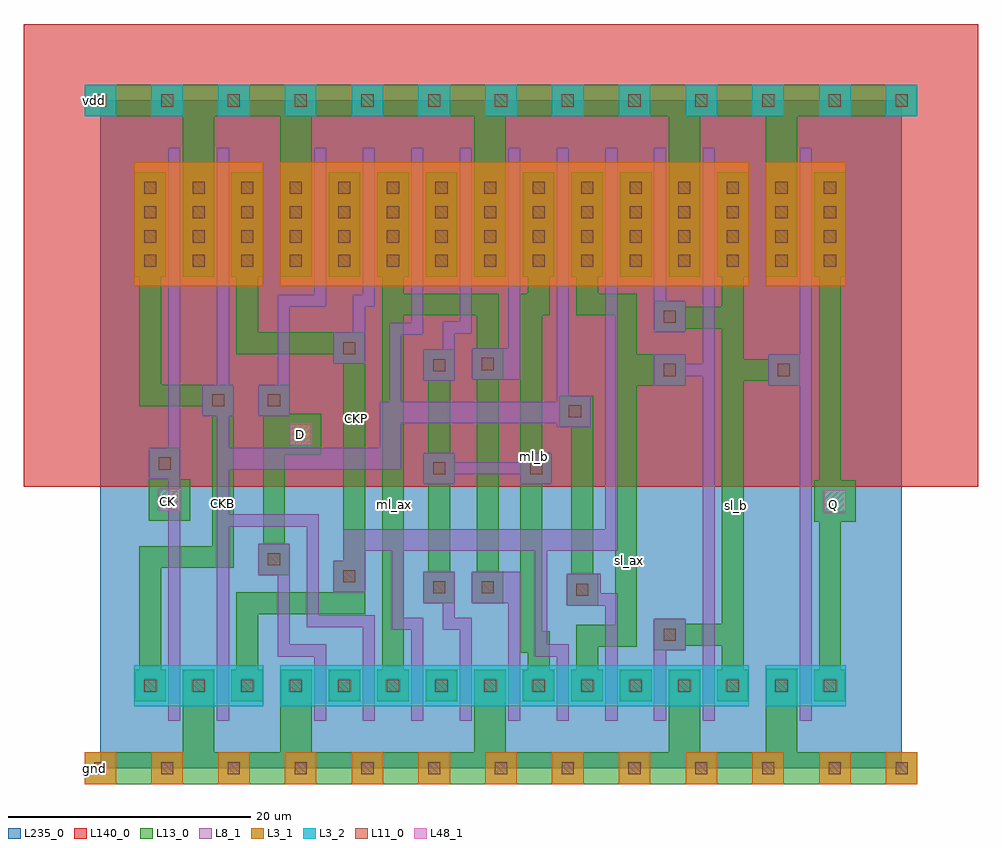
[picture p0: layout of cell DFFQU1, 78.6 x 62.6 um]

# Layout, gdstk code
import gdstk
lib = gdstk.Library(unit=1e-6, precision=1e-09)
def R(c, l, rs):  # rectangles x0, y0, x1, y1
    for r in rs: c.add(gdstk.rectangle(r[:2], r[2:], *l))
def A(c, l, x, y, w, h, nx, ny, dx, dy):  # array of equal rectangles
    R(c, l, [(x+i*dx, y+j*dy, x+i*dx+w, y+j*dy+h) for i in range(nx) for j in range(ny)])
L3_1 = (3, 1)
L3_2 = (3, 2)
L8_1 = (8, 1)
L11_0 = (11, 0)
L13_0 = (13, 0)
L48_1 = (48, 1)
L140_0 = (140, 0)
L235_0 = (235, 0)

cont_n = lib.new_cell('cont_n')
R(cont_n, L3_2, [(-1.3,-1.3,1.3,1.3)])
R(cont_n, L11_0, [(-0.5,-0.5,0.5,0.5)])
R(cont_n, L13_0, [(-1.3,-1.3,1.3,1.3)])

cont_p = lib.new_cell('cont_p')
R(cont_p, L3_1, [(-1.3,-1.3,1.3,1.3)])
R(cont_p, L11_0, [(-0.5,-0.5,0.5,0.5)])
R(cont_p, L13_0, [(-1.3,-1.3,1.3,1.3)])

fet_p = lib.new_cell('fet_p')
R(fet_p, L3_1, [(-19.3,-5.1,19.3,5.1)])
A(fet_p, L11_0, -18.5, -3.5, 1, 1, 10, 4, 4, 2)
A(fet_p, L13_0, -19.3, -4.3, 2.6, 8.6, 10, 1, 4, 0)
fet_p.add(gdstk.FlexPath([(0,-6.3),(0,6.3)], 1, ends="flush", simple_path=True, layer=8, datatype=1))  # L8_1
fet_p.add(gdstk.FlexPath([(-4,-6.3),(-4,6.3)], 1, ends="flush", simple_path=True, layer=8, datatype=1))  # L8_1
fet_p.add(gdstk.FlexPath([(4,-6.3),(4,6.3)], 1, ends="flush", simple_path=True, layer=8, datatype=1))  # L8_1
fet_p.add(gdstk.FlexPath([(-8,-6.3),(-8,6.3)], 1, ends="flush", simple_path=True, layer=8, datatype=1))  # L8_1
fet_p.add(gdstk.FlexPath([(8,-6.3),(8,6.3)], 1, ends="flush", simple_path=True, layer=8, datatype=1))  # L8_1
fet_p.add(gdstk.FlexPath([(-12,-6.3),(-12,6.3)], 1, ends="flush", simple_path=True, layer=8, datatype=1))  # L8_1
fet_p.add(gdstk.FlexPath([(12,-6.3),(12,6.3)], 1, ends="flush", simple_path=True, layer=8, datatype=1))  # L8_1
fet_p.add(gdstk.FlexPath([(-16,-6.3),(-16,6.3)], 1, ends="flush", simple_path=True, layer=8, datatype=1))  # L8_1
fet_p.add(gdstk.FlexPath([(16,-6.3),(16,6.3)], 1, ends="flush", simple_path=True, layer=8, datatype=1))  # L8_1

fet_n = lib.new_cell('fet_n')
R(fet_n, L3_2, [(-19.3,-1.7,19.3,1.7)])
A(fet_n, L11_0, -18.5, -0.5, 1, 1, 10, 1, 4, 0)
A(fet_n, L13_0, -19.3, -1.3, 2.6, 2.6, 10, 1, 4, 0)
fet_n.add(gdstk.FlexPath([(0,-2.9),(0,2.9)], 1, ends="flush", simple_path=True, layer=8, datatype=1))  # L8_1
fet_n.add(gdstk.FlexPath([(-4,-2.9),(-4,2.9)], 1, ends="flush", simple_path=True, layer=8, datatype=1))  # L8_1
fet_n.add(gdstk.FlexPath([(4,-2.9),(4,2.9)], 1, ends="flush", simple_path=True, layer=8, datatype=1))  # L8_1
fet_n.add(gdstk.FlexPath([(-8,-2.9),(-8,2.9)], 1, ends="flush", simple_path=True, layer=8, datatype=1))  # L8_1
fet_n.add(gdstk.FlexPath([(8,-2.9),(8,2.9)], 1, ends="flush", simple_path=True, layer=8, datatype=1))  # L8_1
fet_n.add(gdstk.FlexPath([(-12,-2.9),(-12,2.9)], 1, ends="flush", simple_path=True, layer=8, datatype=1))  # L8_1
fet_n.add(gdstk.FlexPath([(12,-2.9),(12,2.9)], 1, ends="flush", simple_path=True, layer=8, datatype=1))  # L8_1
fet_n.add(gdstk.FlexPath([(-16,-2.9),(-16,2.9)], 1, ends="flush", simple_path=True, layer=8, datatype=1))  # L8_1
fet_n.add(gdstk.FlexPath([(16,-2.9),(16,2.9)], 1, ends="flush", simple_path=True, layer=8, datatype=1))  # L8_1

fet_p_3 = lib.new_cell('fet_p$3')
R(fet_p_3, L3_1, [(-5.3,-5.1,5.3,5.1)])
A(fet_p_3, L11_0, -4.5, -3.5, 1, 1, 3, 4, 4, 2)
A(fet_p_3, L13_0, -5.3, -4.3, 2.6, 8.6, 3, 1, 4, 0)
fet_p_3.add(gdstk.FlexPath([(2,-6.3),(2,6.3)], 1, ends="flush", simple_path=True, layer=8, datatype=1))  # L8_1
fet_p_3.add(gdstk.FlexPath([(-2,-6.3),(-2,6.3)], 1, ends="flush", simple_path=True, layer=8, datatype=1))  # L8_1

fet_n_2 = lib.new_cell('fet_n$2')
R(fet_n_2, L3_2, [(-5.3,-1.7,5.3,1.7)])
A(fet_n_2, L11_0, -4.5, -0.5, 1, 1, 3, 1, 4, 0)
A(fet_n_2, L13_0, -5.3, -1.3, 2.6, 2.6, 3, 1, 4, 0)
fet_n_2.add(gdstk.FlexPath([(2,-2.9),(2,2.9)], 1, ends="flush", simple_path=True, layer=8, datatype=1))  # L8_1
fet_n_2.add(gdstk.FlexPath([(-2,-2.9),(-2,2.9)], 1, ends="flush", simple_path=True, layer=8, datatype=1))  # L8_1

cont_g = lib.new_cell('cont_g')
R(cont_g, L8_1, [(-1.3,-1.3,1.3,1.3)])
R(cont_g, L11_0, [(-0.5,-0.5,0.5,0.5)])
R(cont_g, L13_0, [(-1.3,-1.3,1.3,1.3)])

fet_n_3 = lib.new_cell('fet_n$3')
R(fet_n_3, L3_2, [(-3.3,-1.7,3.3,1.7)])
R(fet_n_3, L11_0, [(-2.5,-0.5,-1.5,0.5), (1.5,-0.5,2.5,0.5)])
R(fet_n_3, L13_0, [(-3.3,-1.3,-0.7,1.3), (0.7,-1.3,3.3,1.3)])
fet_n_3.add(gdstk.FlexPath([(0,-2.9),(0,2.9)], 1, ends="flush", simple_path=True, layer=8, datatype=1))  # L8_1

fet_p_2 = lib.new_cell('fet_p$2')
R(fet_p_2, L3_1, [(-3.3,-5.1,3.3,5.1)])
A(fet_p_2, L11_0, -2.5, -3.5, 1, 1, 1, 4, 0, 2)
A(fet_p_2, L11_0, 1.5, -3.5, 1, 1, 1, 4, 0, 2)
R(fet_p_2, L13_0, [(-3.3,-4.3,-0.7,4.3), (0.7,-4.3,3.3,4.3)])
fet_p_2.add(gdstk.FlexPath([(0,-6.3),(0,6.3)], 1, ends="flush", simple_path=True, layer=8, datatype=1))  # L8_1

dffqu1 = lib.new_cell('DFFQU1')
R(dffqu1, L8_1, [(39.5,14.9,40.4,17.5), (39.5,33.3,40.4,35.9)])
R(dffqu1, L13_0, [(65.1,21.6,68.5,25), (10.3,21.7,13.7,25.1), (21.1,27.1,24.5,30.5), (50.5,32.8,51.9,35.4)])
R(dffqu1, L48_1, [(65.9,22.4,67.7,24.2), (11.1,22.5,12.9,24.3), (21.9,27.9,23.7,29.7)])
R(dffqu1, L140_0, [(0,24.5,78.6,62.6)])
R(dffqu1, L235_0, [(6.3,1.3,72.3,56.3)])
dffqu1.add(gdstk.FlexPath([(44.4,39.8),(44.4,29.9)], 1, ends="extended", simple_path=True, layer=8, datatype=1))  # L8_1
dffqu1.add(gdstk.FlexPath([(16.4,39.8),(16.4,11)], 1, ends="extended", simple_path=True, layer=8, datatype=1))  # L8_1
dffqu1.add(gdstk.FlexPath([(16.8,26.8),(30.2,26.8),(30.2,30.6),(45.5,30.6)], 1.8, ends="extended", simple_path=True, layer=8, datatype=1))  # L8_1
dffqu1.add(gdstk.FlexPath([(28.4,11),(28.4,13.4),(23.8,13.4),(23.8,21.7),(16.4,21.7)], 1, ends="extended", simple_path=True, layer=8, datatype=1))  # L8_1
dffqu1.add(gdstk.FlexPath([(12.4,39.8),(12.4,11)], 1, ends="extended", simple_path=True, layer=8, datatype=1))  # L8_1
dffqu1.add(gdstk.FlexPath([(53.2,34.1),(56.4,34.1)], 1, ends="extended", simple_path=True, layer=8, datatype=1))  # L8_1
dffqu1.add(gdstk.FlexPath([(48.4,11),(48.4,15.2),(47,15.2),(47,16.8)], 1, ends="extended", simple_path=True, layer=8, datatype=1))  # L8_1
dffqu1.add(gdstk.FlexPath([(48.4,39.8),(48.4,20.5)], 1, ends="extended", simple_path=True, layer=8, datatype=1))  # L8_1
dffqu1.add(gdstk.FlexPath([(64.4,39.8),(64.4,11)], 1, ends="extended", simple_path=True, layer=8, datatype=1))  # L8_1
dffqu1.add(gdstk.FlexPath([(34.2,26),(42.2,26)], 1, ends="extended", simple_path=True, layer=8, datatype=1))  # L8_1
dffqu1.add(gdstk.FlexPath([(40.4,39.8),(40.4,33.8)], 1, ends="extended", simple_path=True, layer=8, datatype=1))  # L8_1
dffqu1.add(gdstk.FlexPath([(40.4,11),(40.4,17)], 1, ends="extended", simple_path=True, layer=8, datatype=1))  # L8_1
dffqu1.add(gdstk.FlexPath([(36.4,39.8),(36.4,37.6),(35,37.6),(35,33.7)], 1, ends="extended", simple_path=True, layer=8, datatype=1))  # L8_1
dffqu1.add(gdstk.FlexPath([(36.4,11),(36.4,13.2),(35,13.2),(35,17)], 1, ends="extended", simple_path=True, layer=8, datatype=1))  # L8_1
dffqu1.add(gdstk.FlexPath([(48,20.1),(27.2,20.1),(27.2,17.1)], 1.8, ends="extended", simple_path=True, layer=8, datatype=1))  # L8_1
dffqu1.add(gdstk.FlexPath([(32.4,39.8),(32.4,37.5),(30.6,37.5),(30.6,31.5)], 1, ends="extended", simple_path=True, layer=8, datatype=1))  # L8_1
dffqu1.add(gdstk.FlexPath([(28.4,39.8),(27.6,39.8),(27.6,35.9)], 1, ends="extended", simple_path=True, layer=8, datatype=1))  # L8_1
dffqu1.add(gdstk.FlexPath([(44.4,11),(42.6,11),(42.6,19.2)], 1, ends="extended", simple_path=True, layer=8, datatype=1))  # L8_1
dffqu1.add(gdstk.FlexPath([(32.4,11),(32.4,13.2),(30.8,13.2),(30.8,20.1)], 1, ends="extended", simple_path=True, layer=8, datatype=1))  # L8_1
dffqu1.add(gdstk.FlexPath([(24.4,11),(21.4,11),(21.4,18.5)], 1, ends="extended", simple_path=True, layer=8, datatype=1))  # L8_1
dffqu1.add(gdstk.FlexPath([(24.4,39.8),(21.4,39.8),(21.4,31.6)], 1, ends="extended", simple_path=True, layer=8, datatype=1))  # L8_1
dffqu1.add(gdstk.FlexPath([(56.4,11),(56.4,39.8)], 1, ends="extended", simple_path=True, layer=8, datatype=1))  # L8_1
dffqu1.add(gdstk.FlexPath([(12.4,51.9),(12.4,40.3)], 1, ends="extended", simple_path=True, layer=8, datatype=1))  # L8_1
dffqu1.add(gdstk.FlexPath([(7.15,56.3),(72.3,56.3)], 2.6, ends="extended", simple_path=True, layer=13, datatype=0))  # L13_0
dffqu1.add(gdstk.FlexPath([(7.15,1.3),(72.3,1.3)], 2.6, ends="extended", simple_path=True, layer=13, datatype=0))  # L13_0
dffqu1.add(gdstk.FlexPath([(38.4,48.9),(38.4,56.3)], 2.6, ends="extended", simple_path=True, layer=13, datatype=0))  # L13_0
dffqu1.add(gdstk.FlexPath([(46,16),(46,31.1)], 1.8, ends="extended", simple_path=True, layer=13, datatype=0))  # L13_0
dffqu1.add(gdstk.FlexPath([(66.4,43.1),(66.4,8.1)], 1.8, ends="extended", simple_path=True, layer=13, datatype=0))  # L13_0
dffqu1.add(gdstk.FlexPath([(62.4,8.2),(62.4,1.3)], 2.6, ends="extended", simple_path=True, layer=13, datatype=0))  # L13_0
dffqu1.add(gdstk.FlexPath([(62.4,49.1),(62.4,56.3)], 2.6, ends="extended", simple_path=True, layer=13, datatype=0))  # L13_0
dffqu1.add(gdstk.FlexPath([(62.6,34.1),(58.4,34.1),(58.4,34)], 1.8, ends="extended", simple_path=True, layer=13, datatype=0))  # L13_0
dffqu1.add(gdstk.FlexPath([(46.4,43.1),(46.4,39.5),(49.6,39.5),(49.6,12.2),(46.4,12.2),(46.4,8.1)], 1.8, ends="extended", simple_path=True, layer=13, datatype=0))  # L13_0
dffqu1.add(gdstk.FlexPath([(42.4,43),(42.4,39.5),(41.8,39.5),(41.8,11.7),(42.4,11.7),(42.4,8.1)], 1.8, ends="extended", simple_path=True, layer=13, datatype=0))  # L13_0
dffqu1.add(gdstk.FlexPath([(30.4,39.5),(38.2,39.5),(38.2,34.6)], 1.8, ends="extended", simple_path=True, layer=13, datatype=0))  # L13_0
dffqu1.add(gdstk.FlexPath([(38.2,16.2),(38.2,34.6)], 1.8, ends="extended", simple_path=True, layer=13, datatype=0))  # L13_0
dffqu1.add(gdstk.FlexPath([(34.2,34.4),(34.2,16.2)], 1.8, ends="extended", simple_path=True, layer=13, datatype=0))  # L13_0
dffqu1.add(gdstk.FlexPath([(30.4,43.1),(30.4,39.5),(30.4,11.7),(30.4,8.2)], 1.8, ends="extended", simple_path=True, layer=13, datatype=0))  # L13_0
dffqu1.add(gdstk.FlexPath([(18.4,43.1),(18.4,36.3),(27.2,36.3),(27.2,14.9),(18.4,14.9),(18.4,8.1)], 1.8, ends="extended", simple_path=True, layer=13, datatype=0))  # L13_0
dffqu1.add(gdstk.FlexPath([(20.6,18.5),(20.6,31.6)], 1.8, ends="extended", simple_path=True, layer=13, datatype=0))  # L13_0
dffqu1.add(gdstk.FlexPath([(20.6,18.5),(20.6,31.6)], 1.8, ends="extended", simple_path=True, layer=13, datatype=0))  # L13_0
dffqu1.add(gdstk.FlexPath([(10.4,43.1),(10.4,32),(16.4,32),(16.4,18.7),(10.4,18.7),(10.4,8.1)], 1.8, ends="extended", simple_path=True, layer=13, datatype=0))  # L13_0
dffqu1.add(gdstk.FlexPath([(58.4,43.1),(58.4,8.1)], 1.8, ends="extended", simple_path=True, layer=13, datatype=0))  # L13_0
dffqu1.add(gdstk.FlexPath([(53.2,12.3),(58.4,12.3)], 1.8, ends="extended", simple_path=True, layer=13, datatype=0))  # L13_0
dffqu1.add(gdstk.FlexPath([(53.2,38.4),(58.4,38.4)], 1.8, ends="extended", simple_path=True, layer=13, datatype=0))  # L13_0
dffqu1.add(gdstk.FlexPath([(22.4,8.1),(22.4,1.4)], 2.6, ends="extended", simple_path=True, layer=13, datatype=0))  # L13_0
dffqu1.add(gdstk.FlexPath([(38.4,8.1),(38.4,1.3)], 2.6, ends="extended", simple_path=True, layer=13, datatype=0))  # L13_0
dffqu1.add(gdstk.FlexPath([(54.4,49.1),(54.4,56.3)], 2.6, ends="extended", simple_path=True, layer=13, datatype=0))  # L13_0
dffqu1.add(gdstk.FlexPath([(54.4,8.1),(54.4,1.3)], 2.6, ends="extended", simple_path=True, layer=13, datatype=0))  # L13_0
dffqu1.add(gdstk.FlexPath([(14.4,49.1),(14.4,56.3)], 2.6, ends="extended", simple_path=True, layer=13, datatype=0))  # L13_0
dffqu1.add(gdstk.FlexPath([(14.4,8.1),(14.4,1.3)], 2.6, ends="extended", simple_path=True, layer=13, datatype=0))  # L13_0
dffqu1.add(gdstk.FlexPath([(22.4,49.1),(22.4,56.3)], 2.6, ends="extended", simple_path=True, layer=13, datatype=0))  # L13_0
dffqu1.add(gdstk.Reference(cont_n, (6.3,56.3)))
dffqu1.add(gdstk.Reference(cont_n, (11.8,56.3)))
dffqu1.add(gdstk.Reference(cont_n, (17.3,56.3)))
dffqu1.add(gdstk.Reference(cont_n, (22.8,56.3)))
dffqu1.add(gdstk.Reference(cont_p, (6.3,1.3)))
dffqu1.add(gdstk.Reference(cont_p, (11.8,1.3)))
dffqu1.add(gdstk.Reference(cont_p, (17.3,1.3)))
dffqu1.add(gdstk.Reference(cont_p, (22.8,1.3)))
dffqu1.add(gdstk.Reference(cont_n, (72.3,56.3)))
dffqu1.add(gdstk.Reference(cont_p, (72.3,1.3)))
dffqu1.add(gdstk.Reference(cont_n, (28.3,56.3)))
dffqu1.add(gdstk.Reference(cont_p, (28.3,1.3)))
dffqu1.add(gdstk.Reference(fet_p, (40.4,46.1)))
dffqu1.add(gdstk.Reference(fet_n, (40.4,8.1)))
dffqu1.add(gdstk.Reference(fet_p_3, (14.4,46.1)))
dffqu1.add(gdstk.Reference(fet_n_2, (14.4,8.1)))
dffqu1.add(gdstk.Reference(cont_g, (26.8,35.9)))
dffqu1.add(gdstk.Reference(cont_g, (16,31.6)))
dffqu1.add(gdstk.Reference(cont_g, (34.2,16.2)))
dffqu1.add(gdstk.Reference(cont_g, (34.2,34.5)))
dffqu1.add(gdstk.Reference(cont_g, (38.2,16.2)))
dffqu1.add(gdstk.Reference(cont_g, (38.2,34.6)))
dffqu1.add(gdstk.Reference(cont_g, (53.2,12.3)))
dffqu1.add(gdstk.Reference(cont_g, (53.2,38.5)))
dffqu1.add(gdstk.Reference(fet_n_3, (64.4,8.1)))
dffqu1.add(gdstk.Reference(fet_p_2, (64.4,46.1)))
dffqu1.add(gdstk.Reference(cont_g, (53.2,34.1)))
dffqu1.add(gdstk.Reference(cont_g, (46,16)))
dffqu1.add(gdstk.Reference(cont_g, (45.4,30.7)))
dffqu1.add(gdstk.Reference(cont_g, (62.6,34.1)))
dffqu1.add(gdstk.Reference(cont_g, (34.2,26)))
dffqu1.add(gdstk.Reference(cont_g, (42.2,26)))
dffqu1.add(gdstk.Reference(cont_g, (26.8,17.1)))
dffqu1.add(gdstk.Reference(cont_g, (20.6,18.5)))
dffqu1.add(gdstk.Reference(cont_g, (20.6,31.6)))
dffqu1.add(gdstk.Reference(cont_g, (11.6,26.4)))
dffqu1.add(gdstk.Reference(cont_n, (33.8,56.3)))
dffqu1.add(gdstk.Reference(cont_p, (33.8,1.3)))
dffqu1.add(gdstk.Reference(cont_n, (39.3,56.3)))
dffqu1.add(gdstk.Reference(cont_p, (39.3,1.3)))
dffqu1.add(gdstk.Reference(cont_n, (44.8,56.3)))
dffqu1.add(gdstk.Reference(cont_p, (44.8,1.3)))
dffqu1.add(gdstk.Reference(cont_n, (50.3,56.3)))
dffqu1.add(gdstk.Reference(cont_p, (50.3,1.3)))
dffqu1.add(gdstk.Reference(cont_n, (55.8,56.3)))
dffqu1.add(gdstk.Reference(cont_p, (55.8,1.3)))
dffqu1.add(gdstk.Reference(cont_n, (61.3,56.3)))
dffqu1.add(gdstk.Reference(cont_p, (61.3,1.3)))
dffqu1.add(gdstk.Reference(cont_n, (66.8,56.3)))
dffqu1.add(gdstk.Reference(cont_p, (66.8,1.3)))
dffqu1.add(gdstk.Label('D', (22.8,28.8), layer=48, texttype=0))
dffqu1.add(gdstk.Label('CKB', (16.4,23.1), layer=48, texttype=0))
dffqu1.add(gdstk.Label('CKP', (27.4,30.1), layer=48, texttype=0))
dffqu1.add(gdstk.Label('CK', (11.8,23.3), layer=48, texttype=0))
dffqu1.add(gdstk.Label('Q', (66.7,23), layer=48, texttype=0))
dffqu1.add(gdstk.Label('ml_ax', (30.5,23), layer=48, texttype=0))
dffqu1.add(gdstk.Label('ml_b', (42.1,27), layer=48, texttype=0))
dffqu1.add(gdstk.Label('sl_ax', (49.9,18.4), layer=48, texttype=0))
dffqu1.add(gdstk.Label('sl_b', (58.7,22.9), layer=48, texttype=0))
dffqu1.add(gdstk.Label('gnd', (5.8,1.3), layer=48, texttype=0))
dffqu1.add(gdstk.Label('vdd', (5.8,56.3), layer=48, texttype=0))

lib.write_gds('DFFQU1.gds')
